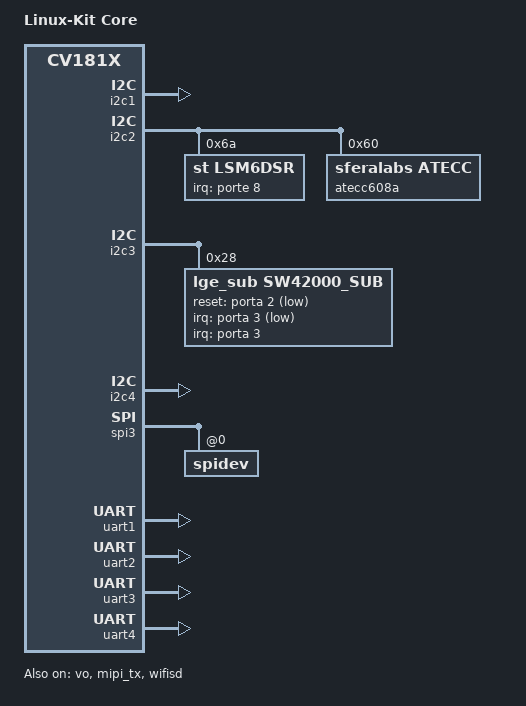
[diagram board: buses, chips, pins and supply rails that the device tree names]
/dts-v1/;
#include "cv181x_base_riscv.dtsi"
#include "cv181x_asic_bga.dtsi"
#include "cv181x_asic_emmc.dtsi"
#include "cv181x_default_memmap.dtsi"

/ {
	model = "Linux-Kit Core";
};

&i2c0 {
	status = "disabled";
};

&i2c1 {
	status = "okay";
};

&i2c2 {
	status = "okay";
    
  lsm6dsr: lsm6dsr@6a {
        compatible = "st,lsm6dsr";
        reg = <0x6a>;
        interrupt-parent = <&porte>;
        interrupts = <8 IRQ_TYPE_EDGE_RISING>;
  };

  atecc608a: atecc608a@60 {
        compatible = "sferalabs,atecc";
        reg = <0x60>;
        status = "okay";
  };
};

&i2c3 {
	status = "okay";
	
	sw42000_sub: sw42000_sub@28 {
        status = "ok";
        compatible = "lge_sub,sw42000_sub";

        reg = <0x28>;
        interrupt-parent = <&porta>;
        interrupts = <3 IRQ_TYPE_EDGE_FALLING>;
        irqflags = <IRQ_TYPE_EDGE_FALLING>;

        reset-gpio = <&porta 2 GPIO_ACTIVE_LOW>;
        irq-gpio = <&porta 3 GPIO_ACTIVE_LOW>;

        /* Caps */
        max_x = <1080>;
        max_y = <1240>;
        max_pressure = <0xff>;
        max_width_major = <1080>;
        max_width_minor = <1240>;
        max_orientation = <90>;
        max_id = <10>;
        hw_reset_delay = <40>;
        sw_reset_delay = <40>;

        /* role */
        use_lpwg = <1>;
        use_lpwg_test = <1>;
        hide_coordinate = <1>;
        use_activepen_status = <0>;
        use_film_status = <1>;
        use_dex_mode = <1>;

        /* Firmware */
        fw_image = "touch/winglm/V1W39WING_v0.18.img";
        panel_spec = "touch/winglm/wing_sw42000_limit.txt";
        panel_spec_mfts_folder = "touch/winglm/wing_sw42000_limit.txt";

        /* Performance Test */
        use_perf_test = <1>;
        test_delay = <8>;
        test_pressure = <50>;
        test_width = <100>;
        click_test_x = <180>;
        click_test_y = <838>;
        v_drag_test_x = <144>;
        v_drag_test_start_y = <2103>;
        v_drag_test_end_y = <1216>;
        h_drag_test_start_x = <1163>;
        h_drag_test_end_x = <276>;
        h_drag_test_y = <2284>;
    };
};

&i2c4 {
	status = "okay";
};

&spi3 {
	status = "okay";

	spidev@0 {
		status = "okay";
	};
};

&dac {
	/delete-property/ mute-gpio-l;
	/delete-property/ mute-gpio-r;
};

/* mipi dsi for u-boot */
&vo {
	compatible = "cvitek,vo";
	reset-gpio = <&porta 0 GPIO_ACTIVE_LOW>;
	/delete-property/ pwm-gpio;
	/delete-property/ power-ct-gpio;
	status = "okay";
};

/* mipi dsi for kernel */
&mipi_tx {
	compatible = "cvitek,mipi_tx";
	reset-gpio = <&porta 0 GPIO_ACTIVE_LOW>;
	/delete-property/ pwm-gpio;
	/delete-property/ power-ct-gpio;
	status = "okay";
};

&wifisd {
	status = "okay";
	cap-sd-highspeed;
	sd-uhs-sdr25;
	sd-uhs-ddr50;
	sd-uhs-sdr104;
	min-frequency = <400000>;
	max-frequency = <187500000>;
};

&wifi_pin {
	status = "okay";
	compatible = "cvitek,wifi-pin";
	poweron-gpio = <&portb 22 GPIO_ACTIVE_HIGH>;
	wakeup-gpio = <&porte 0 GPIO_ACTIVE_HIGH>;
};

&usb {
	vbus-gpio = <&portb 6 0>;
};

&uart1 {
	status = "okay";
};

&uart2 {
	status = "okay";
};

&uart3 {
	status = "okay";
};

&uart4 {
	status = "okay";
};
